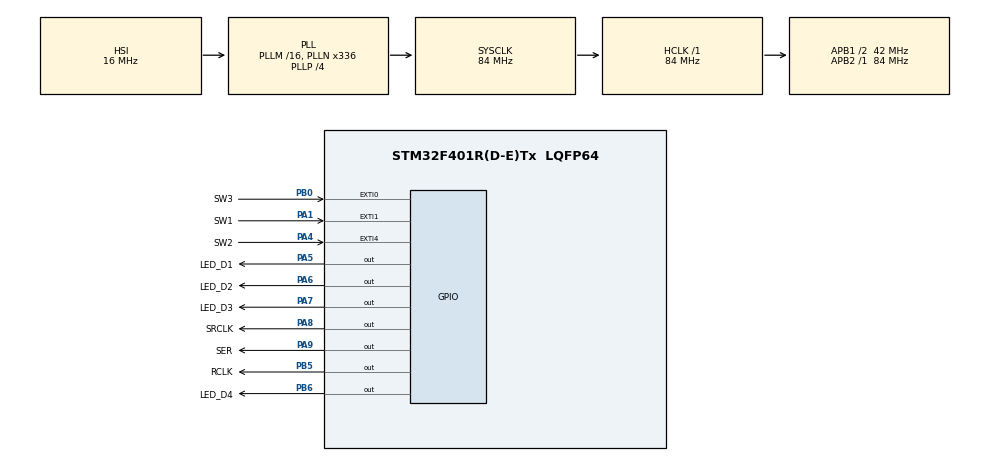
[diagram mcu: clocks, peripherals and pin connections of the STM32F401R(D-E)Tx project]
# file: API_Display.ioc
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Mcu.Family=STM32F4
PC15-OSC32_OUT.Mode=LSE-External-Oscillator
NVIC.EXTI4_IRQn=true\:0\:0\:false\:false\:true\:true\:true
RCC.CortexFreq_Value=84000000
PA9.GPIO_Label=SER
PA14.GPIO_Label=TCK
PH1\ -\ OSC_OUT.Mode=HSE-External-Clock-Source
PA6.PinState=GPIO_PIN_SET
PA6.GPIO_Label=LED_D2
PB0.GPIO_Label=SW3
PB6.GPIO_Label=LED_D4
RCC.APB1CLKDivider=RCC_HCLK_DIV2
PC14-OSC32_IN.Signal=RCC_OSC32_IN
PA5.PinState=GPIO_PIN_SET
RCC.SYSCLKSource=RCC_SYSCLKSOURCE_PLLCLK
ProjectManager.StackSize=0x400
PA13.Signal=SYS_JTMS-SWDIO
NVIC.EXTI1_IRQn=true\:0\:0\:false\:false\:true\:true\:true
PH0\ -\ OSC_IN.Mode=HSE-External-Clock-Source
PA8.GPIO_Label=SRCLK
PH0\ -\ OSC_IN.Signal=RCC_OSC_IN
PA7.PinState=GPIO_PIN_SET
ProjectManager.TargetToolchain=SW4STM32
RCC.HCLKFreq_Value=84000000
RCC.APB2TimFreq_Value=84000000
PA9.Signal=GPIO_Output
PB6.Signal=GPIO_Output
PC15-OSC32_OUT.Signal=RCC_OSC32_OUT
PA1.Signal=GPXTI1
RCC.AHBFreq_Value=84000000
PA5.Signal=GPIO_Output
RCC.HSE_VALUE=8000000
PH1\ -\ OSC_OUT.Signal=RCC_OSC_OUT
board=NUCLEO-F401RE
RCC.VCOOutputFreq_Value=336000000
RCC.APB2Freq_Value=84000000
PC14-OSC32_IN.Mode=LSE-External-Oscillator
PA14.Mode=Serial_Wire
PA1.GPIO_Label=SW1
PA8.Signal=GPIO_Output
PA13.Mode=Serial_Wire
Mcu.Name=STM32F401R(D-E)Tx
PA13.GPIO_Label=TMS
RCC.48MHZClocksFreq_Value=48000000
NVIC.EXTI0_IRQn=true\:0\:0\:false\:false\:true\:true\:true
PA4.Signal=GPXTI4
RCC.SYSCLKFreq_VALUE=84000000
Mcu.Package=LQFP64
PB5.Signal=GPIO_Output
PA6.Signal=GPIO_Output
PA7.GPIO_Label=LED_D3
PA5.GPIO_Label=LED_D1
PB6.PinState=GPIO_PIN_SET
PA14.Signal=SYS_JTCK-SWCLK
ProjectManager.HeapSize=0x200
RCC.HSI_VALUE=16000000
RCC.PLLP=RCC_PLLP_DIV4
RCC.PLLQ=7
NVIC.PriorityGroup=NVIC_PRIORITYGROUP_0
PB5.GPIO_Label=RCLK
RCC.PLLN=336
RCC.APB1TimFreq_Value=84000000
RCC.APB1Freq_Value=42000000
PB0.Signal=GPXTI0
PA4.GPIO_Label=SW2
PA7.Signal=GPIO_Output

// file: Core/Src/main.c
/* USER CODE BEGIN Header */
/**
  ******************************************************************************
  * @file           : main.c
  * @brief          : Main program body
  ******************************************************************************
  * @attention
  *
  * <h2><center>&copy; Copyright (c) 2020 STMicroelectronics.
  * All rights reserved.</center></h2>
  *
  * This software component is licensed by ST under BSD 3-Clause license,
  * the "License"; You may not use this file except in compliance with the
  * License. You may obtain a copy of the License at:
  *                        opensource.org/licenses/BSD-3-Clause
  *
  ******************************************************************************
  */
/* USER CODE END Header */
#include "main.h"
#include "MFS_DISPLAY4NUCLEO-64_STMF401.h"

void SystemClock_Config(void);
static void MX_GPIO_Init(void);

static uint16_t estado=4;
int main(void)
{

  /* MCU Configuration--------------------------------------------------------*/

  /* Reset of all peripherals, Initializes the Flash interface and the Systick. */
  HAL_Init();

  /* Configure the system clock */
  SystemClock_Config();

  /* Initialize all configured peripherals */
  MX_GPIO_Init();

  /* Infinite loop */
  /* USER CODE BEGIN WHILE */
  Apaga_Display();
  Piscar_Palavra_Comum(0, 8);
  PassarString("Press buttons");
  while (1)
  {
	  //Apaga_Display(); // Apaga os 4 Displays
	  switch(estado) {
	   	case 0:
	   		PassarString("0 to 10");
	   		if(Contagem_Progressiva(0, 10) == COUNT_OK){
	   			PassarString("finish");
	   		} else {
	   			PassarString("error");
	   		}
	  	break;
	  	case 1:
	  		PassarString("9999 to 9990");
	  		if(Contagem_Regressiva(9999, 9990) == COUNT_OK){
	  			PassarString("finish");
	  		} else {
	  			PassarString("error");
	  		}
	  	break;
	  	case 2:
	  		PassarString(" NUCLEO 64 F401 - API DISPLAY");
	  	break;
	  	default:
	  	break;
    /* USER CODE END WHILE */
	  }
  }
}

void SystemClock_Config(void)
{
  RCC_OscInitTypeDef RCC_OscInitStruct = {0};
  RCC_ClkInitTypeDef RCC_ClkInitStruct = {0};

  /** Configure the main internal regulator output voltage
  */
  __HAL_RCC_PWR_CLK_ENABLE();
  __HAL_PWR_VOLTAGESCALING_CONFIG(PWR_REGULATOR_VOLTAGE_SCALE2);
  /** Initializes the RCC Oscillators according to the specified parameters
  * in the RCC_OscInitTypeDef structure.
  */
  RCC_OscInitStruct.OscillatorType = RCC_OSCILLATORTYPE_HSI;
  RCC_OscInitStruct.HSIState = RCC_HSI_ON;
  RCC_OscInitStruct.HSICalibrationValue = RCC_HSICALIBRATION_DEFAULT;
  RCC_OscInitStruct.PLL.PLLState = RCC_PLL_ON;
  RCC_OscInitStruct.PLL.PLLSource = RCC_PLLSOURCE_HSI;
  RCC_OscInitStruct.PLL.PLLM = 16;
  RCC_OscInitStruct.PLL.PLLN = 336;
  RCC_OscInitStruct.PLL.PLLP = RCC_PLLP_DIV4;
  RCC_OscInitStruct.PLL.PLLQ = 7;
  if (HAL_RCC_OscConfig(&RCC_OscInitStruct) != HAL_OK)
  {
    Error_Handler();
  }
  /** Initializes the CPU, AHB and APB buses clocks
  */
  RCC_ClkInitStruct.ClockType = RCC_CLOCKTYPE_HCLK|RCC_CLOCKTYPE_SYSCLK
                              |RCC_CLOCKTYPE_PCLK1|RCC_CLOCKTYPE_PCLK2;
  RCC_ClkInitStruct.SYSCLKSource = RCC_SYSCLKSOURCE_PLLCLK;
  RCC_ClkInitStruct.AHBCLKDivider = RCC_SYSCLK_DIV1;
  RCC_ClkInitStruct.APB1CLKDivider = RCC_HCLK_DIV2;
  RCC_ClkInitStruct.APB2CLKDivider = RCC_HCLK_DIV1;

  if (HAL_RCC_ClockConfig(&RCC_ClkInitStruct, FLASH_LATENCY_2) != HAL_OK)
  {
    Error_Handler();
  }
}

static void MX_GPIO_Init(void)
{
  GPIO_InitTypeDef GPIO_InitStruct = {0};

  /* GPIO Ports Clock Enable */
  __HAL_RCC_GPIOC_CLK_ENABLE();
  __HAL_RCC_GPIOH_CLK_ENABLE();
  __HAL_RCC_GPIOA_CLK_ENABLE();
  __HAL_RCC_GPIOB_CLK_ENABLE();

  /*Configure GPIO pin Output Level */
  HAL_GPIO_WritePin(GPIOA, LED_D1_Pin|LED_D2_Pin|LED_D3_Pin, GPIO_PIN_SET);

  /*Configure GPIO pin Output Level */
  HAL_GPIO_WritePin(GPIOA, SRCLK_Pin|SER_Pin, GPIO_PIN_RESET);

  /*Configure GPIO pin Output Level */
  HAL_GPIO_WritePin(RCLK_GPIO_Port, RCLK_Pin, GPIO_PIN_RESET);

  /*Configure GPIO pin Output Level */
  HAL_GPIO_WritePin(LED_D4_GPIO_Port, LED_D4_Pin, GPIO_PIN_SET);

  /*Configure GPIO pins : SW1_Pin SW2_Pin */
  GPIO_InitStruct.Pin = SW1_Pin|SW2_Pin;
  GPIO_InitStruct.Mode = GPIO_MODE_IT_RISING;
  GPIO_InitStruct.Pull = GPIO_NOPULL;
  HAL_GPIO_Init(GPIOA, &GPIO_InitStruct);

  /*Configure GPIO pins : LED_D1_Pin LED_D2_Pin LED_D3_Pin SRCLK_Pin
                           SER_Pin */
  GPIO_InitStruct.Pin = LED_D1_Pin|LED_D2_Pin|LED_D3_Pin|SRCLK_Pin
                          |SER_Pin;
  GPIO_InitStruct.Mode = GPIO_MODE_OUTPUT_PP;
  GPIO_InitStruct.Pull = GPIO_NOPULL;
  GPIO_InitStruct.Speed = GPIO_SPEED_FREQ_LOW;
  HAL_GPIO_Init(GPIOA, &GPIO_InitStruct);

  /*Configure GPIO pin : SW3_Pin */
  GPIO_InitStruct.Pin = SW3_Pin;
  GPIO_InitStruct.Mode = GPIO_MODE_IT_RISING;
  GPIO_InitStruct.Pull = GPIO_NOPULL;
  HAL_GPIO_Init(SW3_GPIO_Port, &GPIO_InitStruct);

  /*Configure GPIO pins : RCLK_Pin LED_D4_Pin */
  GPIO_InitStruct.Pin = RCLK_Pin|LED_D4_Pin;
  GPIO_InitStruct.Mode = GPIO_MODE_OUTPUT_PP;
  GPIO_InitStruct.Pull = GPIO_NOPULL;
  GPIO_InitStruct.Speed = GPIO_SPEED_FREQ_LOW;
  HAL_GPIO_Init(GPIOB, &GPIO_InitStruct);

  /* EXTI interrupt init*/
  HAL_NVIC_SetPriority(EXTI0_IRQn, 0, 0);
  HAL_NVIC_EnableIRQ(EXTI0_IRQn);

  HAL_NVIC_SetPriority(EXTI1_IRQn, 0, 0);
  HAL_NVIC_EnableIRQ(EXTI1_IRQn);

  HAL_NVIC_SetPriority(EXTI4_IRQn, 0, 0);
  HAL_NVIC_EnableIRQ(EXTI4_IRQn);

}

/* USER CODE BEGIN 4 */
void HAL_GPIO_EXTI_Callback(uint16_t GPIO_Pin) {
	if(GPIO_Pin == SW1_Pin)
		estado=0;
	if(GPIO_Pin == SW2_Pin)
		estado=1;
	if(GPIO_Pin == SW3_Pin)
		estado=2;
}
/* USER CODE END 4 */

void Error_Handler(void)
{
}

/************************ (C) COPYRIGHT STMicroelectronics *****END OF FILE****/
